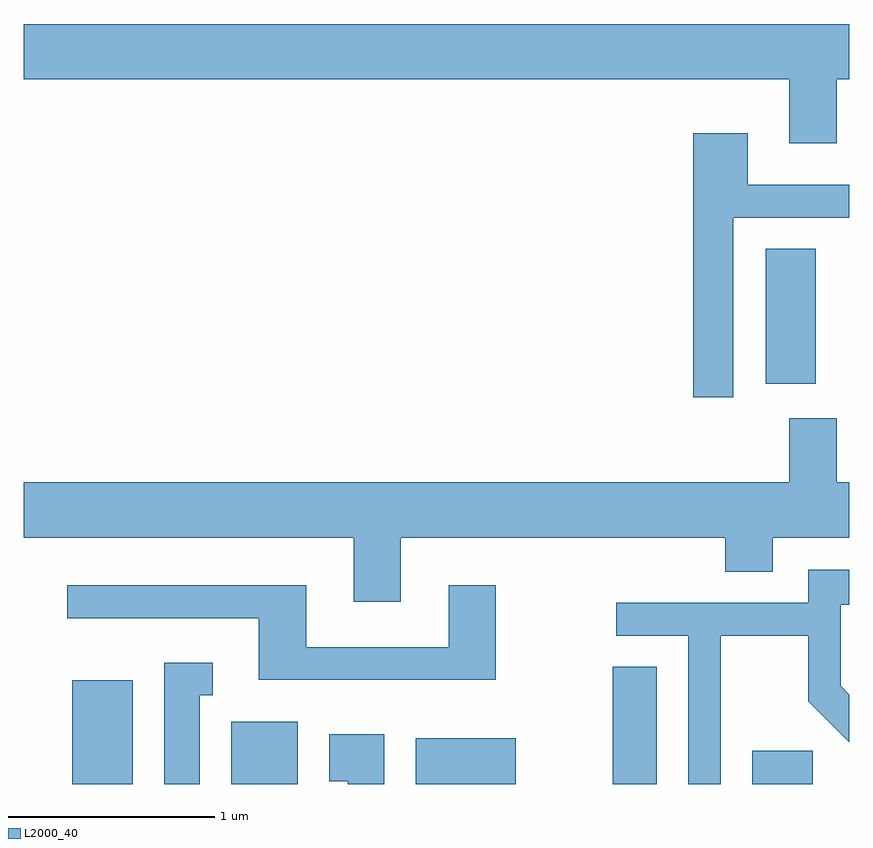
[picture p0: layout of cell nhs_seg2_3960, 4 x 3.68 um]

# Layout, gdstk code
import gdstk
lib = gdstk.Library(unit=1e-6, precision=1e-09)
def R(c, l, rs):  # rectangles x0, y0, x1, y1
    for r in rs: c.add(gdstk.rectangle(r[:2], r[2:], *l))
def P(c, l, *ps):  # polygons
    for p in ps: c.add(gdstk.Polygon(p, *l))
L2000_40 = (2000, 40)

nhs_seg2_3960 = lib.new_cell('nhs_seg2_3960')
R(nhs_seg2_3960, L2000_40, [(301.846,1033.802,302.139,1034.304), (302.616,1033.802,302.939,1034.104), (303.511,1033.802,303.994,1034.024), (304.466,1033.802,304.679,1034.369), (305.141,1033.802,305.434,1033.964), (305.206,1035.741,305.449,1036.394)])
P(nhs_seg2_3960, L2000_40, [(305.549,1037.216),(305.611,1037.216),(305.611,1037.484),(301.611,1037.484),(301.611,1037.216),(305.321,1037.216),(305.321,1036.906),(305.549,1036.906)],
  [(305.049,1036.546),(305.611,1036.546),(305.611,1036.704),(305.119,1036.704),(305.119,1036.954),(304.856,1036.954),(304.856,1035.676),(305.049,1035.676)],
  [(303.439,1034.996),(305.011,1034.996),(305.011,1034.831),(305.239,1034.831),(305.239,1034.996),(305.611,1034.996),(305.611,1035.264),(305.549,1035.264),(305.549,1035.574),(305.321,1035.574),(305.321,1035.264),(301.611,1035.264),(301.611,1034.996),(303.211,1034.996),(303.211,1034.686),(303.439,1034.686)],
  [(304.989,1034.521),(305.411,1034.521),(305.411,1034.204),(305.611,1034.004),(305.611,1034.235),(305.569,1034.277),(305.569,1034.671),(305.611,1034.671),(305.611,1034.839),(305.411,1034.839),(305.411,1034.679),(304.483,1034.679),(304.483,1034.521),(304.831,1034.521),(304.831,1033.802),(304.989,1033.802)],
  [(303.899,1034.764),(303.671,1034.764),(303.671,1034.464),(302.979,1034.464),(302.979,1034.764),(301.823,1034.764),(301.823,1034.606),(302.751,1034.606),(302.751,1034.306),(303.899,1034.306)],
  [(302.464,1034.231),(302.528,1034.231),(302.528,1034.389),(302.291,1034.389),(302.291,1033.802),(302.464,1033.802)],
  [(303.359,1034.044),(303.091,1034.044),(303.091,1033.816),(303.181,1033.816),(303.181,1033.802),(303.359,1033.802)])

lib.write_gds('nhs_seg2_3960.gds')
